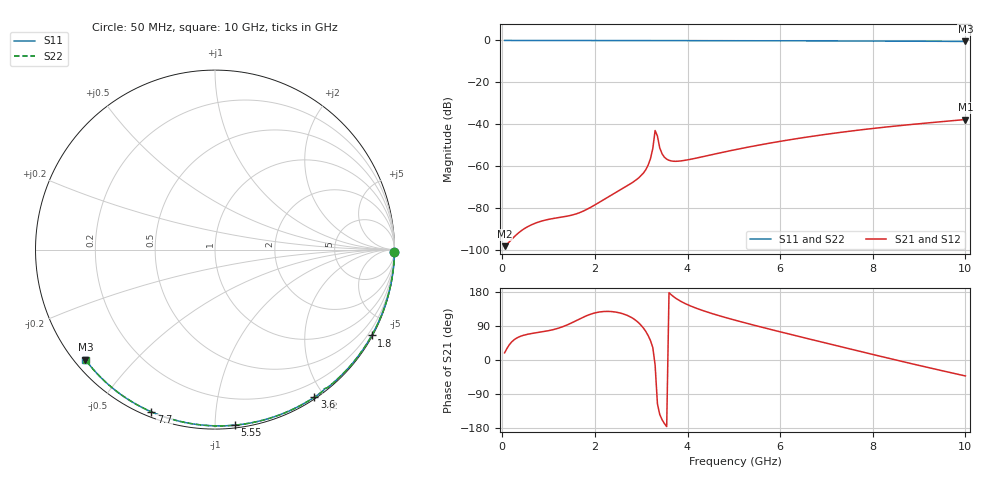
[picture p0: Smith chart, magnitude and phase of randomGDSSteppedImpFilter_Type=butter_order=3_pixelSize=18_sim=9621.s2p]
! freq	dB(S11)	phase(S11)	dB(S12)	phase(S12)
!  dB(S21)	phase(S21)	dB(S22)	phase(S22)
!S-par simulation data
#  GHz  S  DB  R 50
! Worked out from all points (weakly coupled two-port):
!   200 points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, 50 MHz to 10 GHz, reference 50 ohm
!   highest |S21| = -37.78 dB at 10 GHz (marker M1); lowest = -98.3 dB at 50 MHz (marker M2)
!   lowest |S11| = -0.5 dB at 10 GHz (marker M3), VSWR 36.92, Z = 1.54 - j18.4 ohm
!   |S11| at or under -10 dB: nowhere
!   |S22| runs from -0.5 to 0.0 dB; largest |S21 - S12| = 0
!   S11 on the Smith chart (normalised r, x): 50 MHz: open; 1.8 GHz: 0.03, -3.91; 3.6 GHz: 0.02, -1.88; 5.55 GHz: 0.02, -1.12; 7.7 GHz: 0.02, -0.68; 10 GHz: 0.03, -0.37
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0.05  -0.00 -0.8  -98.30 18.9  -98.30 18.9  -0.00 -0.8
1.75  -0.04 -27.9  -81.54 113.1  -81.54 113.1  -0.04 -27.9
1.8  -0.04 -28.7  -80.99 115.8  -80.99 115.8  -0.04 -28.7
1.9  -0.04 -30.3  -79.84 120.6  -79.84 120.6  -0.04 -30.3
2.7  -0.06 -42.6  -69.39 117.7  -69.39 117.7  -0.06 -42.6
3.05  -0.06 -47.9  -63.30 83.9  -63.30 83.9  -0.06 -47.9
3.15  -0.07 -49.5  -59.51 64.4  -59.51 64.4  -0.07 -49.4
3.2  -0.07 -50.2  -56.47 51.4  -56.47 51.4  -0.07 -50.2
3.25  -0.08 -51.1  -51.61 33.0  -51.61 33.0  -0.07 -51.0
3.3  -0.12 -51.9  -43.05 -13.3  -43.05 -13.3  -0.12 -51.9
3.35  -0.10 -52.1  -45.69 -115.7  -45.69 -115.7  -0.10 -52.1
3.4  -0.08 -53.0  -51.35 -143.7  -51.35 -143.7  -0.08 -52.9
3.45  -0.07 -53.8  -54.15 -157.6  -54.15 -157.6  -0.07 -53.7
3.5  -0.07 -54.5  -55.78 -167.6  -55.78 -167.6  -0.07 -54.5
3.6  -0.08 -56.0  -57.27 177.7  -57.27 177.7  -0.08 -56.0
3.95  -0.08 -61.1  -57.27 148.8  -57.27 148.8  -0.08 -61.1
5.05  -0.12 -76.7  -52.10 104.3  -52.10 104.3  -0.12 -76.7
5.55  -0.14 -83.6  -49.96 88.2  -49.96 88.2  -0.14 -83.5
6.7  -0.19 -98.8  -45.77 53.3  -45.77 53.3  -0.19 -98.7
7.7  -0.26 -111.5  -42.82 23.5  -42.82 23.5  -0.26 -111.4
8.35  -0.31 -119.5  -41.21 4.3  -41.21 4.3  -0.31 -119.5
10  -0.47 -139.6  -37.78 -42.1  -37.78 -42.1  -0.47 -139.6
